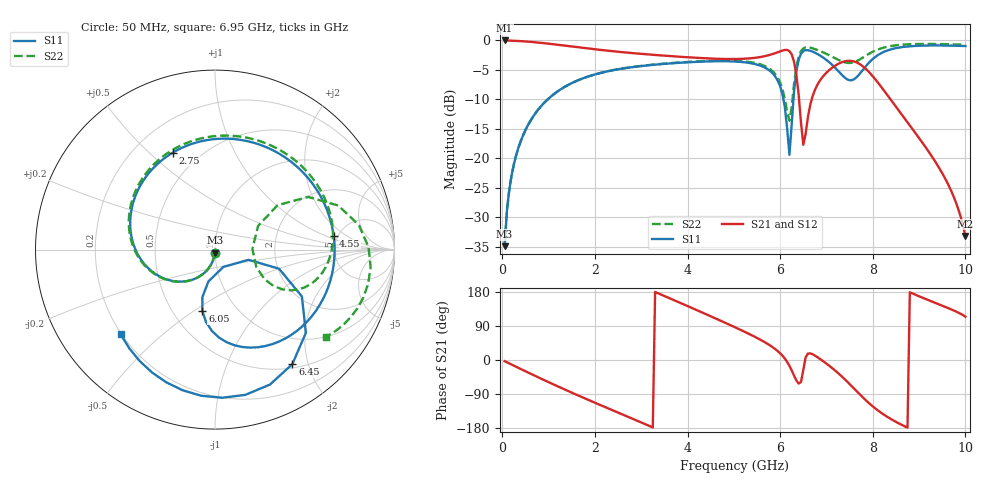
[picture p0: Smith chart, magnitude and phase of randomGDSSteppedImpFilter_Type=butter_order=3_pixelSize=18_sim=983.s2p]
! freq	dB(S11)	phase(S11)	dB(S12)	phase(S12)
!  dB(S21)	phase(S21)	dB(S22)	phase(S22)
!S-par simulation data
#  GHz  S  DB  R 50
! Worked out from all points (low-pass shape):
!   200 points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, 50 MHz to 10 GHz, reference 50 ohm
!   highest |S21| = 0.00 dB at 50 MHz (marker M1); lowest = -33.2 dB at 10 GHz (marker M2)
!   |S21| within 3 dB of the highest: start of sweep to 4.328 GHz; 5.392 GHz to 6.275 GHz (883.6 MHz wide, 15.1 % of centre)
!   lowest |S11| = -34.9 dB at 50 MHz (marker M3), VSWR 1.04, Z = 49.9 - j1.79 ohm
!   |S11| at or under -10 dB: start of sweep to 980.5 MHz; 6.071 GHz to 6.287 GHz (216.6 MHz wide, 3.51 % of centre)
!   |S22| runs from -34.9 to -0.6 dB; largest |S21 - S12| = 0
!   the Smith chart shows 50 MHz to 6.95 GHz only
!   S11 on the Smith chart (normalised r, x): 50 MHz: 1.00, -0.04; 2.75 GHz: 0.36, +0.59; 4.55 GHz: 4.61, +1.28; 6.05 GHz: 0.70, -0.54; 6.45 GHz: 0.56, -1.75; 6.95 GHz: 0.20, -0.37
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0.05  -34.89 -93.1  -0.00 -3.0  -0.00 -3.0  -34.89 -93.1
0.2  -22.91 -102.3  -0.04 -12.0  -0.04 -12.0  -22.91 -102.3
0.5  -15.20 -120.3  -0.18 -29.7  -0.18 -29.7  -15.21 -120.2
1.75  -6.41 168.7  -1.27 -99.5  -1.27 -99.5  -6.40 170.9
2.75  -4.59 113.6  -2.10 -151.8  -2.10 -151.8  -4.57 121.5
3.4  -4.04 76.3  -2.53 174.2  -2.53 174.2  -4.00 91.1
4.55  -3.54 6.7  -3.09 112.7  -3.09 112.7  -3.45 39.0
5.05  -3.59 -24.9  -3.15 85.0  -3.15 85.0  -3.46 16.4
5.65  -4.52 -66.3  -2.70 48.3  -2.70 48.3  -4.28 -12.2
6.05  -9.13 -101.6  -1.72 11.3  -1.72 11.3  -8.27 -31.9
6.2  -19.40 -64.4  -1.80 -15.3  -1.80 -15.3  -13.62 1.1
6.3  -8.58 -16.6  -3.61 -41.1  -3.61 -41.1  -7.38 35.4
6.45  -2.27 -56.0  -13.91 -58.1  -13.91 -58.1  -1.79 9.6
6.5  -1.81 -67.9  -17.70 -26.4  -17.70 -26.4  -1.35 0.9
6.7  -1.89 -103.0  -9.48 15.2  -9.48 15.2  -1.33 -22.4
6.95  -3.02 -138.0  -5.88 -5.0  -5.88 -5.0  -2.10 -38.3
7.25  -5.15 170.9  -3.99 -34.5  -3.99 -34.5  -3.26 -48.4
7.6  -6.57 75.3  -3.58 -75.8  -3.58 -75.8  -3.68 -48.4
7.95  -3.51 -8.7  -5.63 -117.2  -5.63 -117.2  -2.12 -53.5
8.35  -1.61 -61.5  -9.64 -152.8  -9.64 -152.8  -1.01 -69.0
9  -0.90 -110.7  -16.56 168.1  -16.56 168.1  -0.60 -93.3
10  -0.95 -164.4  -33.18 114.3  -33.18 114.3  -0.74 -127.3
